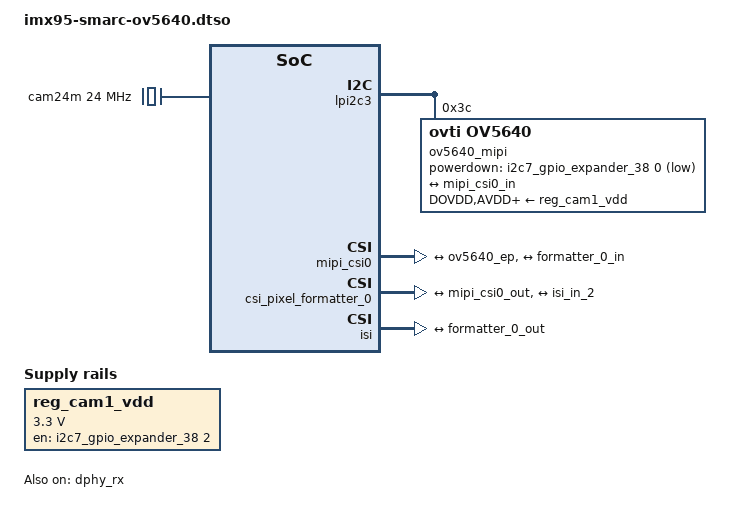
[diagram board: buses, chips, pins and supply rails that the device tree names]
// SPDX-License-Identifier: (GPL-2.0+ OR MIT)
/*
 * Copyright 2026 Jason Yang <jasonyang@ieiworld.com>
 *
 * OV5640 camera on the CN_CAM connector (CSI1, 2 lanes).
 */

/dts-v1/;
/plugin/;

#include <dt-bindings/gpio/gpio.h>

&{/} {
	/* The module carries its own oscillator, CAM_MCK is unused. */
	cam24m: clock-cam24m {
		compatible = "fixed-clock";
		#clock-cells = <0>;
		clock-frequency = <24000000>;
		clock-output-names = "cam24m";
	};

	/* CAM1_3V3, switched by U45 whose enable is CAM1_VDD_EN */
	reg_cam1_vdd: regulator-cam1-vdd {
		compatible = "regulator-fixed";
		regulator-name = "CAM1_3V3";
		regulator-min-microvolt = <3300000>;
		regulator-max-microvolt = <3300000>;
		gpio = <&i2c7_gpio_expander_38 2 GPIO_ACTIVE_HIGH>;
		enable-active-high;
	};
};

&lpi2c3 {
	#address-cells = <1>;
	#size-cells = <0>;
	status = "okay";

	ov5640_mipi: camera@3c {
		compatible = "ovti,ov5640";
		reg = <0x3c>;
		clocks = <&cam24m>;
		clock-names = "xclk";
		powerdown-gpios = <&i2c7_gpio_expander_38 0 GPIO_ACTIVE_LOW>;
		DOVDD-supply = <&reg_cam1_vdd>;
		AVDD-supply = <&reg_cam1_vdd>;
		DVDD-supply = <&reg_cam1_vdd>;
		status = "okay";

		port {
			ov5640_ep: endpoint {
				remote-endpoint = <&mipi_csi0_in>;
				data-lanes = <1 2>;
				clock-lanes = <0>;
			};
		};
	};
};

&dphy_rx {
	status = "okay";
};

&mipi_csi0 {
	status = "okay";

	ports {
		#address-cells = <1>;
		#size-cells = <0>;

		port@0 {
			reg = <0>;

			mipi_csi0_in: endpoint {
				remote-endpoint = <&ov5640_ep>;
				data-lanes = <1 2>;
				clock-lanes = <0>;
			};
		};

		port@1 {
			reg = <1>;

			mipi_csi0_out: endpoint {
				remote-endpoint = <&formatter_0_in>;
			};
		};
	};
};

&csi_pixel_formatter_0 {
	status = "okay";

	ports {
		#address-cells = <1>;
		#size-cells = <0>;

		port@0 {
			reg = <0>;

			formatter_0_in: endpoint {
				remote-endpoint = <&mipi_csi0_out>;
			};
		};

		port@1 {
			reg = <1>;

			formatter_0_out: endpoint {
				remote-endpoint = <&isi_in_2>;
			};
		};
	};
};

&isi {
	status = "okay";

	ports {
		#address-cells = <1>;
		#size-cells = <0>;

		port@2 {
			reg = <2>;

			isi_in_2: endpoint {
				remote-endpoint = <&formatter_0_out>;
			};
		};
	};
};
